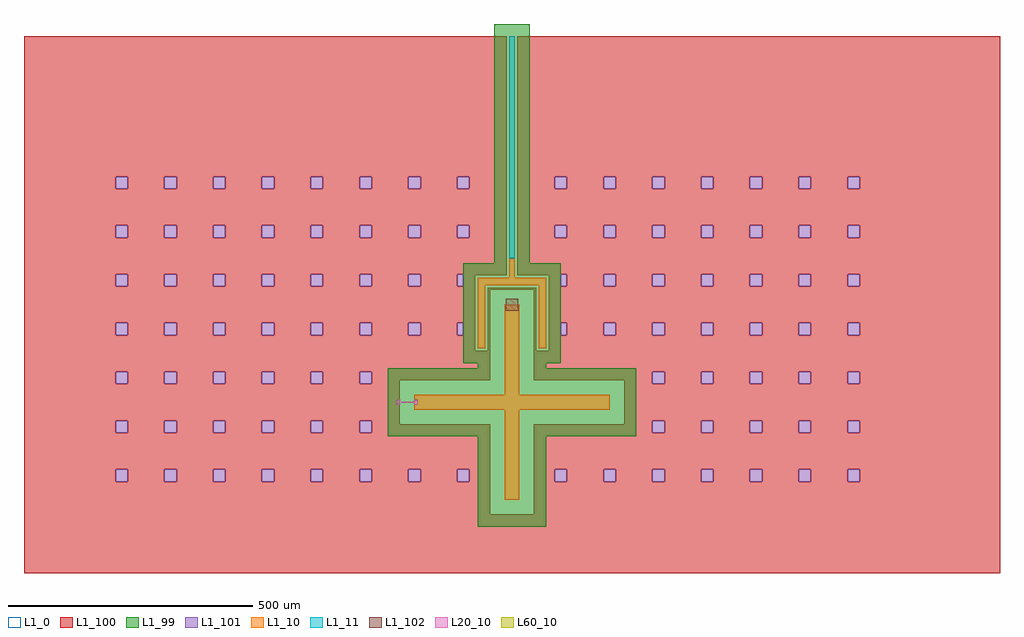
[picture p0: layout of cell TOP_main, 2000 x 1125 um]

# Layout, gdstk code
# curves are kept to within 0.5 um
import gdstk
lib = gdstk.Library(unit=1e-6, precision=1e-09)
def R(c, l, rs):  # rectangles x0, y0, x1, y1
    for r in rs: c.add(gdstk.rectangle(r[:2], r[2:], *l))
def A(c, l, x, y, w, h, nx, ny, dx, dy):  # array of equal rectangles
    R(c, l, [(x+i*dx, y+j*dy, x+i*dx+w, y+j*dy+h) for i in range(nx) for j in range(ny)])
def P(c, l, *ps):  # polygons
    for p in ps: c.add(gdstk.Polygon(p, *l))
L1_0 = (1, 0)
L1_10 = (1, 10)
L1_11 = (1, 11)
L1_99 = (1, 99)
L1_100 = (1, 100)
L1_101 = (1, 101)
L1_102 = (1, 102)
L20_10 = (20, 10)
L60_10 = (60, 10)

ground_main_1 = lib.new_cell('ground_main_1')
P(ground_main_1, L1_0, [(75.2,60.2),(75.2,-95),(50,-95),(50,35),(-50,35),(-50,-95),(-75.2,-95),(-75.2,60.2),(-10.95,60.2),(-10.95,550),(-1000,550),(-1000,-245),(-230,-245),(-230,-155),(-45,-155),(-45,30),(45,30),(45,-155),(230,-155),(230,-245),(45,-245),(45,-430),(-45,-430),(-45,-245),(-230,-245),(-1000,-245),(-1000,-550),(1000,-550),(1000,550),(10.95,550),(10.95,60.2)])

top_main_1_one_hole = lib.new_cell('TOP_main_1_one_hole')
P(top_main_1_one_hole, L1_102, [(12.5,-12.5),(12.5,12.5),(-12.5,12.5),(-12.5,-12.5),(12.5,-12.5)])

top_main_1_cheese_diff = lib.new_cell('TOP_main_1_Cheese_diff')
A(top_main_1_cheese_diff, L1_101, -812.5, -362.5, 25, 25, 8, 2, 100, 500)
A(top_main_1_cheese_diff, L1_101, 87.5, -362.5, 25, 25, 7, 2, 100, 500)
A(top_main_1_cheese_diff, L1_101, -812.5, -262.5, 25, 25, 6, 2, 100, 100)
A(top_main_1_cheese_diff, L1_101, 287.5, -262.5, 25, 25, 5, 2, 100, 100)
A(top_main_1_cheese_diff, L1_101, -812.5, -62.5, 25, 25, 7, 2, 100, 100)
A(top_main_1_cheese_diff, L1_101, 187.5, -62.5, 25, 25, 6, 2, 100, 100)
A(top_main_1_cheese_diff, L1_101, -812.5, 237.5, 25, 25, 8, 1, 100, 0)
A(top_main_1_cheese_diff, L1_101, 87.5, 237.5, 25, 25, 7, 1, 100, 0)
R(top_main_1_cheese_diff, L1_101, [(-112.5,-62.5,-100.2,-37.5), (100.2,-62.5,112.5,-37.5), (-112.5,37.5,-100.2,62.5), (100.2,37.5,112.5,62.5)])

top_main_1_cheese_100 = lib.new_cell('TOP_main_1_Cheese_100')
P(top_main_1_cheese_100, L1_100, [(-487.5,-137.5),(-487.5,-62.5),(-512.5,-62.5),(-512.5,-37.5),(-487.5,-37.5),(-487.5,37.5),(-512.5,37.5),(-512.5,62.5),(-487.5,62.5),(-487.5,137.5),(-512.5,137.5),(-512.5,162.5),(-487.5,162.5),(-487.5,237.5),(-512.5,237.5),(-512.5,262.5),(-487.5,262.5),(-487.5,550),(-1000,550),(-1000,237.5),(-812.5,237.5),(-812.5,262.5),(-787.5,262.5),(-787.5,237.5),(-712.5,237.5),(-712.5,262.5),(-687.5,262.5),(-687.5,237.5),(-612.5,237.5),(-612.5,262.5),(-587.5,262.5),(-587.5,237.5),(-612.5,237.5),(-687.5,237.5),(-712.5,237.5),(-787.5,237.5),(-812.5,237.5),(-1000,237.5),(-1000,137.5),(-812.5,137.5),(-812.5,162.5),(-787.5,162.5),(-787.5,137.5),(-712.5,137.5),(-712.5,162.5),(-687.5,162.5),(-687.5,137.5),(-612.5,137.5),(-612.5,162.5),(-587.5,162.5),(-587.5,137.5),(-612.5,137.5),(-687.5,137.5),(-712.5,137.5),(-787.5,137.5),(-812.5,137.5),(-1000,137.5),(-1000,37.5),(-812.5,37.5),(-812.5,62.5),(-787.5,62.5),(-787.5,37.5),(-712.5,37.5),(-712.5,62.5),(-687.5,62.5),(-687.5,37.5),(-612.5,37.5),(-612.5,62.5),(-587.5,62.5),(-587.5,37.5),(-612.5,37.5),(-687.5,37.5),(-712.5,37.5),(-787.5,37.5),(-812.5,37.5),(-1000,37.5),(-1000,-62.5),(-812.5,-62.5),(-812.5,-37.5),(-787.5,-37.5),(-787.5,-62.5),(-712.5,-62.5),(-712.5,-37.5),(-687.5,-37.5),(-687.5,-62.5),(-612.5,-62.5),(-612.5,-37.5),(-587.5,-37.5),(-587.5,-62.5),(-612.5,-62.5),(-687.5,-62.5),(-712.5,-62.5),(-787.5,-62.5),(-812.5,-62.5),(-1000,-62.5),(-1000,-162.5),(-812.5,-162.5),(-812.5,-137.5),(-787.5,-137.5),(-787.5,-162.5),(-712.5,-162.5),(-712.5,-137.5),(-687.5,-137.5),(-687.5,-162.5),(-612.5,-162.5),(-612.5,-137.5),(-587.5,-137.5),(-587.5,-162.5),(-612.5,-162.5),(-687.5,-162.5),(-712.5,-162.5),(-787.5,-162.5),(-812.5,-162.5),(-1000,-162.5),(-1000,-262.5),(-812.5,-262.5),(-812.5,-237.5),(-787.5,-237.5),(-787.5,-262.5),(-712.5,-262.5),(-712.5,-237.5),(-687.5,-237.5),(-687.5,-262.5),(-612.5,-262.5),(-612.5,-237.5),(-587.5,-237.5),(-587.5,-262.5),(-612.5,-262.5),(-687.5,-262.5),(-712.5,-262.5),(-787.5,-262.5),(-812.5,-262.5),(-1000,-262.5),(-1000,-362.5),(-812.5,-362.5),(-812.5,-337.5),(-787.5,-337.5),(-787.5,-362.5),(-712.5,-362.5),(-712.5,-337.5),(-687.5,-337.5),(-687.5,-362.5),(-612.5,-362.5),(-612.5,-337.5),(-587.5,-337.5),(-587.5,-362.5),(-612.5,-362.5),(-687.5,-362.5),(-712.5,-362.5),(-787.5,-362.5),(-812.5,-362.5),(-1000,-362.5),(-1000,-550),(-487.5,-550),(-487.5,-362.5),(-512.5,-362.5),(-512.5,-337.5),(-487.5,-337.5),(-487.5,-262.5),(-512.5,-262.5),(-512.5,-237.5),(-487.5,-237.5),(-487.5,-162.5),(-512.5,-162.5),(-512.5,-137.5)],
  [(-100.2,-337.5),(-100.2,-245),(-230,-245),(-230,-155),(-100.2,-155),(-100.2,-62.5),(-112.5,-62.5),(-112.5,-37.5),(-100.2,-37.5),(-100.2,37.5),(-112.5,37.5),(-112.5,62.5),(-100.2,62.5),(-100.2,137.5),(-112.5,137.5),(-112.5,162.5),(-100.2,162.5),(-100.2,237.5),(-112.5,237.5),(-112.5,262.5),(-100.2,262.5),(-100.2,550),(-487.5,550),(-487.5,237.5),(-412.5,237.5),(-412.5,262.5),(-387.5,262.5),(-387.5,237.5),(-312.5,237.5),(-312.5,262.5),(-287.5,262.5),(-287.5,237.5),(-212.5,237.5),(-212.5,262.5),(-187.5,262.5),(-187.5,237.5),(-212.5,237.5),(-287.5,237.5),(-312.5,237.5),(-387.5,237.5),(-412.5,237.5),(-487.5,237.5),(-487.5,137.5),(-412.5,137.5),(-412.5,162.5),(-387.5,162.5),(-387.5,137.5),(-312.5,137.5),(-312.5,162.5),(-287.5,162.5),(-287.5,137.5),(-212.5,137.5),(-212.5,162.5),(-187.5,162.5),(-187.5,137.5),(-212.5,137.5),(-287.5,137.5),(-312.5,137.5),(-387.5,137.5),(-412.5,137.5),(-487.5,137.5),(-487.5,37.5),(-412.5,37.5),(-412.5,62.5),(-387.5,62.5),(-387.5,37.5),(-312.5,37.5),(-312.5,62.5),(-287.5,62.5),(-287.5,37.5),(-212.5,37.5),(-212.5,62.5),(-187.5,62.5),(-187.5,37.5),(-212.5,37.5),(-287.5,37.5),(-312.5,37.5),(-387.5,37.5),(-412.5,37.5),(-487.5,37.5),(-487.5,-62.5),(-412.5,-62.5),(-412.5,-37.5),(-387.5,-37.5),(-387.5,-62.5),(-312.5,-62.5),(-312.5,-37.5),(-287.5,-37.5),(-287.5,-62.5),(-212.5,-62.5),(-212.5,-37.5),(-187.5,-37.5),(-187.5,-62.5),(-212.5,-62.5),(-287.5,-62.5),(-312.5,-62.5),(-387.5,-62.5),(-412.5,-62.5),(-487.5,-62.5),(-487.5,-162.5),(-412.5,-162.5),(-412.5,-137.5),(-387.5,-137.5),(-387.5,-162.5),(-312.5,-162.5),(-312.5,-137.5),(-287.5,-137.5),(-287.5,-162.5),(-312.5,-162.5),(-387.5,-162.5),(-412.5,-162.5),(-487.5,-162.5),(-487.5,-262.5),(-412.5,-262.5),(-412.5,-237.5),(-387.5,-237.5),(-387.5,-262.5),(-312.5,-262.5),(-312.5,-237.5),(-287.5,-237.5),(-287.5,-262.5),(-312.5,-262.5),(-387.5,-262.5),(-412.5,-262.5),(-487.5,-262.5),(-487.5,-362.5),(-412.5,-362.5),(-412.5,-337.5),(-387.5,-337.5),(-387.5,-362.5),(-312.5,-362.5),(-312.5,-337.5),(-287.5,-337.5),(-287.5,-362.5),(-212.5,-362.5),(-212.5,-337.5),(-187.5,-337.5),(-187.5,-362.5),(-212.5,-362.5),(-287.5,-362.5),(-312.5,-362.5),(-387.5,-362.5),(-412.5,-362.5),(-487.5,-362.5),(-487.5,-550),(-100.2,-550),(-100.2,-362.5),(-112.5,-362.5),(-112.5,-337.5)],
  [(75.2,60.2),(75.2,37.5),(100.2,37.5),(100.2,62.5),(112.5,62.5),(112.5,37.5),(187.5,37.5),(187.5,62.5),(212.5,62.5),(212.5,37.5),(287.5,37.5),(287.5,62.5),(312.5,62.5),(312.5,37.5),(287.5,37.5),(212.5,37.5),(187.5,37.5),(112.5,37.5),(100.2,37.5),(75.2,37.5),(75.2,-62.5),(100.2,-62.5),(100.2,-37.5),(112.5,-37.5),(112.5,-62.5),(187.5,-62.5),(187.5,-37.5),(212.5,-37.5),(212.5,-62.5),(287.5,-62.5),(287.5,-37.5),(312.5,-37.5),(312.5,-62.5),(287.5,-62.5),(212.5,-62.5),(187.5,-62.5),(112.5,-62.5),(100.2,-62.5),(75.2,-62.5),(75.2,-95),(50,-95),(50,35),(-50,35),(-50,-95),(-75.2,-95),(-75.2,60.2),(-10.95,60.2),(-10.95,550),(-100.2,550),(-100.2,262.5),(-87.5,262.5),(-87.5,237.5),(-100.2,237.5),(-100.2,162.5),(-87.5,162.5),(-87.5,137.5),(-100.2,137.5),(-100.2,-155),(-45,-155),(-45,30),(45,30),(45,-155),(230,-155),(230,-162.5),(287.5,-162.5),(287.5,-137.5),(312.5,-137.5),(312.5,-162.5),(287.5,-162.5),(230,-162.5),(230,-245),(45,-245),(45,-262.5),(287.5,-262.5),(287.5,-237.5),(312.5,-237.5),(312.5,-262.5),(287.5,-262.5),(45,-262.5),(45,-362.5),(87.5,-362.5),(87.5,-337.5),(112.5,-337.5),(112.5,-362.5),(187.5,-362.5),(187.5,-337.5),(212.5,-337.5),(212.5,-362.5),(287.5,-362.5),(287.5,-337.5),(312.5,-337.5),(312.5,-362.5),(287.5,-362.5),(212.5,-362.5),(187.5,-362.5),(112.5,-362.5),(87.5,-362.5),(45,-362.5),(45,-430),(-45,-430),(-45,-245),(-100.2,-245),(-100.2,-337.5),(-87.5,-337.5),(-87.5,-362.5),(-100.2,-362.5),(-100.2,-550),(387.5,-550),(387.5,550),(10.95,550),(10.95,237.5),(87.5,237.5),(87.5,262.5),(112.5,262.5),(112.5,237.5),(187.5,237.5),(187.5,262.5),(212.5,262.5),(212.5,237.5),(287.5,237.5),(287.5,262.5),(312.5,262.5),(312.5,237.5),(287.5,237.5),(212.5,237.5),(187.5,237.5),(112.5,237.5),(87.5,237.5),(10.95,237.5),(10.95,137.5),(87.5,137.5),(87.5,162.5),(112.5,162.5),(112.5,137.5),(187.5,137.5),(187.5,162.5),(212.5,162.5),(212.5,137.5),(287.5,137.5),(287.5,162.5),(312.5,162.5),(312.5,137.5),(287.5,137.5),(212.5,137.5),(187.5,137.5),(112.5,137.5),(87.5,137.5),(10.95,137.5),(10.95,60.2)],
  [(412.5,237.5),(487.5,237.5),(487.5,262.5),(512.5,262.5),(512.5,237.5),(587.5,237.5),(587.5,262.5),(612.5,262.5),(612.5,237.5),(687.5,237.5),(687.5,262.5),(712.5,262.5),(712.5,237.5),(687.5,237.5),(612.5,237.5),(587.5,237.5),(512.5,237.5),(487.5,237.5),(412.5,237.5),(387.5,237.5),(387.5,162.5),(412.5,162.5),(412.5,137.5),(487.5,137.5),(487.5,162.5),(512.5,162.5),(512.5,137.5),(587.5,137.5),(587.5,162.5),(612.5,162.5),(612.5,137.5),(687.5,137.5),(687.5,162.5),(712.5,162.5),(712.5,137.5),(687.5,137.5),(612.5,137.5),(587.5,137.5),(512.5,137.5),(487.5,137.5),(412.5,137.5),(387.5,137.5),(387.5,62.5),(412.5,62.5),(412.5,37.5),(487.5,37.5),(487.5,62.5),(512.5,62.5),(512.5,37.5),(587.5,37.5),(587.5,62.5),(612.5,62.5),(612.5,37.5),(687.5,37.5),(687.5,62.5),(712.5,62.5),(712.5,37.5),(687.5,37.5),(612.5,37.5),(587.5,37.5),(512.5,37.5),(487.5,37.5),(412.5,37.5),(387.5,37.5),(387.5,-37.5),(412.5,-37.5),(412.5,-62.5),(487.5,-62.5),(487.5,-37.5),(512.5,-37.5),(512.5,-62.5),(587.5,-62.5),(587.5,-37.5),(612.5,-37.5),(612.5,-62.5),(687.5,-62.5),(687.5,-37.5),(712.5,-37.5),(712.5,-62.5),(687.5,-62.5),(612.5,-62.5),(587.5,-62.5),(512.5,-62.5),(487.5,-62.5),(412.5,-62.5),(387.5,-62.5),(387.5,-137.5),(412.5,-137.5),(412.5,-162.5),(487.5,-162.5),(487.5,-137.5),(512.5,-137.5),(512.5,-162.5),(587.5,-162.5),(587.5,-137.5),(612.5,-137.5),(612.5,-162.5),(687.5,-162.5),(687.5,-137.5),(712.5,-137.5),(712.5,-162.5),(687.5,-162.5),(612.5,-162.5),(587.5,-162.5),(512.5,-162.5),(487.5,-162.5),(412.5,-162.5),(387.5,-162.5),(387.5,-237.5),(412.5,-237.5),(412.5,-262.5),(487.5,-262.5),(487.5,-237.5),(512.5,-237.5),(512.5,-262.5),(587.5,-262.5),(587.5,-237.5),(612.5,-237.5),(612.5,-262.5),(687.5,-262.5),(687.5,-237.5),(712.5,-237.5),(712.5,-262.5),(687.5,-262.5),(612.5,-262.5),(587.5,-262.5),(512.5,-262.5),(487.5,-262.5),(412.5,-262.5),(387.5,-262.5),(387.5,-337.5),(412.5,-337.5),(412.5,-362.5),(487.5,-362.5),(487.5,-337.5),(512.5,-337.5),(512.5,-362.5),(587.5,-362.5),(587.5,-337.5),(612.5,-337.5),(612.5,-362.5),(687.5,-362.5),(687.5,-337.5),(712.5,-337.5),(712.5,-362.5),(687.5,-362.5),(612.5,-362.5),(587.5,-362.5),(512.5,-362.5),(487.5,-362.5),(412.5,-362.5),(387.5,-362.5),(387.5,-550),(1000,-550),(1000,550),(387.5,550),(387.5,262.5),(412.5,262.5)])

top_main_1 = lib.new_cell('TOP_main_1')
P(top_main_1, L1_10, [(-15,0),(15,0),(15,-185),(200,-185),(200,-215),(15,-215),(15,-400),(-15,-400),(-15,-215),(-200,-215),(-200,-185),(-15,-185),(-15,0)],
  [(5.85,95.1),(5.85,55.1),(70.1,55.1),(70.1,-89.9),(55.1,-89.9),(55.1,40.1),(-55.1,40.1),(-55.1,-89.9),(-70.1,-89.9),(-70.1,55.1),(-5.85,55.1),(-5.85,95.1),(5.85,95.1)])
R(top_main_1, L1_11, [(-5.85,95.1,5.85,550)])
top_main_1.add(gdstk.Reference(ground_main_1, (0,0)))
top_main_1.add(gdstk.Reference(top_main_1_one_hole, (0,0)))
top_main_1.add(gdstk.Reference(top_main_1_cheese_diff, (0,0)))
top_main_1.add(gdstk.Reference(top_main_1_cheese_100, (0,0)))

top_main_20 = lib.new_cell('TOP_main_20')
P(top_main_20, L20_10, [(-236.5,-195),(-229.5,-195),(-229.5,-197),(-227.5,-199),(-215,-199),(-214.36,-199.906),(-213.14,-200.094),(-214.36,-200.094),(-215,-201),(-227.5,-201),(-229.5,-203),(-229.5,-205),(-236.5,-205)],
  [(-202.5,-199),(-200.5,-197),(-200.5,-195),(-193.5,-195),(-193.5,-205),(-200.5,-205),(-200.5,-203),(-202.5,-201),(-213,-201),(-213,-199),(-202.5,-199)])

top_main_60 = lib.new_cell('TOP_main_60')
P(top_main_60, L60_10, [(-215,-199),(-215,-201),(-214.36,-200.094),(-213,-200.094),(-213,-199.906),(-214.36,-199.906),(-215,-199)])

top_main_1_nocheese_99 = lib.new_cell('TOP_main_1_NoCheese_99')
P(top_main_1_nocheese_99, L1_99, [(-70,-120),(-100.2,-120),(-100.2,85.2),(-35.95,85.2),(-35.95,575),(35.95,575),(35.95,85.2),(100.2,85.2),(100.2,-120),(70,-120),(70,-130),(255,-130),(255,-270),(70,-270),(70,-455),(-70,-455),(-70,-270),(-255,-270),(-255,-130),(-70,-130),(-70,-120)])

top_main = lib.new_cell('TOP_main')
top_main.add(gdstk.Reference(top_main_1, (0,0)))
top_main.add(gdstk.Reference(top_main_20, (0,0)))
top_main.add(gdstk.Reference(top_main_60, (0,0)))
top_main.add(gdstk.Reference(top_main_1_nocheese_99, (0,0)))

lib.write_gds('TOP_main.gds')
